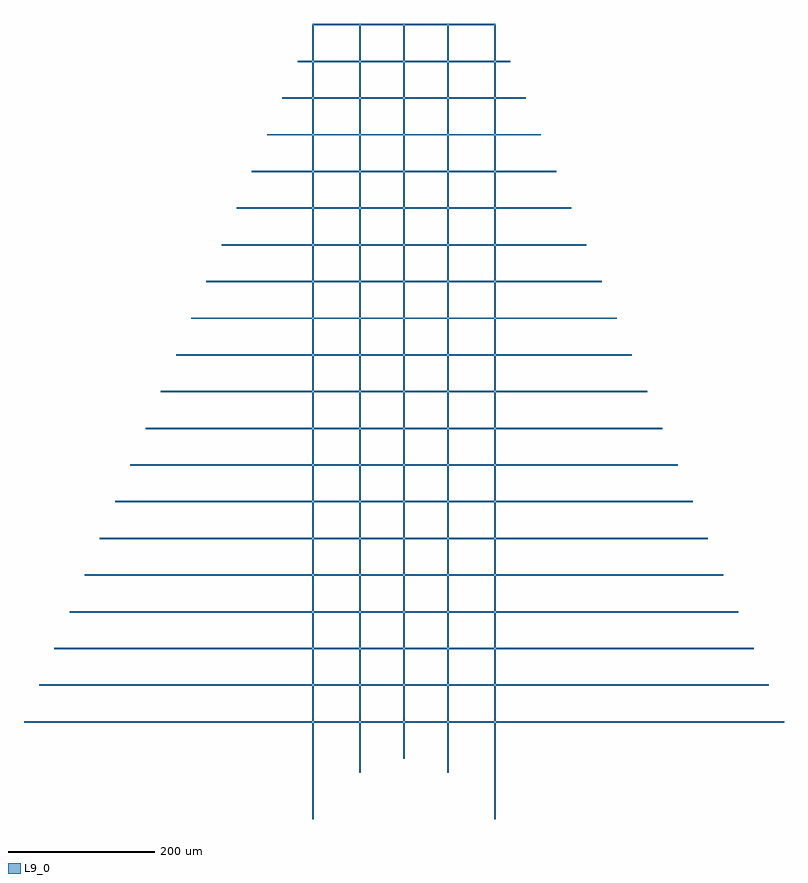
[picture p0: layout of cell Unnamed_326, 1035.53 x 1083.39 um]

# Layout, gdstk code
from math import pi, radians
import gdstk
lib = gdstk.Library(unit=1e-6, precision=1e-09)
def R(c, l, rs):  # rectangles x0, y0, x1, y1
    for r in rs: c.add(gdstk.rectangle(r[:2], r[2:], *l))
L9_0 = (9, 0)

unnamed_346 = lib.new_cell('Unnamed_346')
R(unnamed_346, L9_0, [(0,-1,1035.534,1)])

unnamed_347 = lib.new_cell('Unnamed_347')
R(unnamed_347, L9_0, [(0,-1,1082.392,1)])

unnamed_327 = lib.new_cell('Unnamed_327')
R(unnamed_327, L9_0, [(0,-1,248.528,1)])

unnamed_348 = lib.new_cell('Unnamed_348')
R(unnamed_348, L9_0, [(0,-1,1019.591,1)])

unnamed_337 = lib.new_cell('Unnamed_337')
R(unnamed_337, L9_0, [(0,-1,662.742,1)])

unnamed_345 = lib.new_cell('Unnamed_345')
R(unnamed_345, L9_0, [(0,-1,994.113,1)])

unnamed_335 = lib.new_cell('Unnamed_335')
R(unnamed_335, L9_0, [(0,-1,579.899,1)])

unnamed_351 = lib.new_cell('Unnamed_351')
R(unnamed_351, L9_0, [(0,-1,1082.392,1)])

unnamed_336 = lib.new_cell('Unnamed_336')
R(unnamed_336, L9_0, [(0,-1,621.32,1)])

unnamed_344 = lib.new_cell('Unnamed_344')
R(unnamed_344, L9_0, [(0,-1,952.691,1)])

unnamed_334 = lib.new_cell('Unnamed_334')
R(unnamed_334, L9_0, [(0,-1,538.478,1)])

unnamed_343 = lib.new_cell('Unnamed_343')
R(unnamed_343, L9_0, [(0,-1,911.27,1)])

unnamed_333 = lib.new_cell('Unnamed_333')
R(unnamed_333, L9_0, [(0,-1,497.056,1)])

unnamed_342 = lib.new_cell('Unnamed_342')
R(unnamed_342, L9_0, [(0,-1,869.848,1)])

unnamed_332 = lib.new_cell('Unnamed_332')
R(unnamed_332, L9_0, [(0,-1,455.635,1)])

unnamed_341 = lib.new_cell('Unnamed_341')
R(unnamed_341, L9_0, [(0,-1,828.427,1)])

unnamed_331 = lib.new_cell('Unnamed_331')
R(unnamed_331, L9_0, [(0,-1,414.214,1)])

unnamed_349 = lib.new_cell('Unnamed_349')
R(unnamed_349, L9_0, [(0,-1,1000,1)])

unnamed_350 = lib.new_cell('Unnamed_350')
R(unnamed_350, L9_0, [(0,-1,1019.591,1)])

unnamed_339 = lib.new_cell('Unnamed_339')
R(unnamed_339, L9_0, [(0,-1,745.584,1)])

unnamed_329 = lib.new_cell('Unnamed_329')
R(unnamed_329, L9_0, [(0,-1,331.371,1)])

unnamed_338 = lib.new_cell('Unnamed_338')
R(unnamed_338, L9_0, [(0,-1,704.163,1)])

unnamed_328 = lib.new_cell('Unnamed_328')
R(unnamed_328, L9_0, [(0,-1,289.949,1)])

unnamed_340 = lib.new_cell('Unnamed_340')
R(unnamed_340, L9_0, [(0,-1,787.006,1)])

unnamed_330 = lib.new_cell('Unnamed_330')
R(unnamed_330, L9_0, [(0,-1,372.792,1)])

unnamed_326 = lib.new_cell('Unnamed_326')
unnamed_326.add(gdstk.Reference(unnamed_346, (-517.767,-1250)))
unnamed_326.add(gdstk.Reference(unnamed_347, (-124.264,-300), rotation=3*pi/2))
unnamed_326.add(gdstk.Reference(unnamed_327, (-124.264,-300)))
unnamed_326.add(gdstk.Reference(unnamed_348, (-59.674,-300), rotation=3*pi/2))
unnamed_326.add(gdstk.Reference(unnamed_337, (-331.371,-800)))
unnamed_326.add(gdstk.Reference(unnamed_345, (-497.056,-1200)))
unnamed_326.add(gdstk.Reference(unnamed_335, (-289.949,-700)))
unnamed_326.add(gdstk.Reference(unnamed_351, (124.264,-300), rotation=3*pi/2))
unnamed_326.add(gdstk.Reference(unnamed_336, (-310.66,-750)))
unnamed_326.add(gdstk.Reference(unnamed_344, (-476.346,-1150)))
unnamed_326.add(gdstk.Reference(unnamed_334, (-269.239,-650)))
unnamed_326.add(gdstk.Reference(unnamed_343, (-455.635,-1100)))
unnamed_326.add(gdstk.Reference(unnamed_333, (-248.528,-600)))
unnamed_326.add(gdstk.Reference(unnamed_342, (-434.924,-1050)))
unnamed_326.add(gdstk.Reference(unnamed_332, (-227.817,-550)))
unnamed_326.add(gdstk.Reference(unnamed_341, (-414.214,-1000)))
unnamed_326.add(gdstk.Reference(unnamed_331, (-207.107,-500)))
unnamed_326.add(gdstk.Reference(unnamed_349, (0,-300), rotation=3*pi/2))
unnamed_326.add(gdstk.Reference(unnamed_350, (59.674,-300), rotation=3*pi/2))
unnamed_326.add(gdstk.Reference(unnamed_339, (-372.792,-900)))
unnamed_326.add(gdstk.Reference(unnamed_329, (-165.685,-400)))
unnamed_326.add(gdstk.Reference(unnamed_338, (-352.082,-850)))
unnamed_326.add(gdstk.Reference(unnamed_328, (-144.975,-350)))
unnamed_326.add(gdstk.Reference(unnamed_340, (-393.503,-950)))
unnamed_326.add(gdstk.Reference(unnamed_330, (-186.396,-450)))

lib.write_gds('Unnamed_326.gds')
